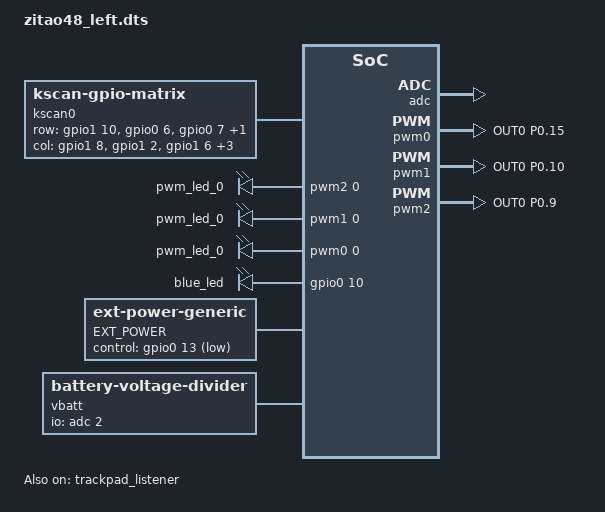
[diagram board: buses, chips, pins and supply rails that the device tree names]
/*
*
* Copyright (c) 2025 ZitaoTech
* SPDX-License-Identifier: MIT
*
*/

#include "zitao48.dtsi"
//#include "zitao48_left-pinctrl.dtsi"
/* {
    glidepoint_listener: glidepoint_listener {
        compatible = "zmk,input-listener";
        status = "disabled";
    };
};*/


/{
    chosen {
        zmk,studio-rpc-uart = &cdc_acm_uart; // ✅ 
    };
};

/ {
    chosen {
        zmk,keyboard_middlebacklight = &keyboard_middlebacklight;
        zmk,indicator_tp = &indicator_tp;
        zmk,backlight = &backlight;
    };
    kscan0: kscan {
        compatible = "zmk,kscan-gpio-matrix";
        diode-direction = "col2row";
        row-gpios
            = <&gpio1 10 (GPIO_ACTIVE_HIGH | GPIO_PULL_DOWN)>
            , <&gpio0 6  (GPIO_ACTIVE_HIGH | GPIO_PULL_DOWN)>
            , <&gpio0 7 (GPIO_ACTIVE_HIGH | GPIO_PULL_DOWN)>
            , <&gpio1 13  (GPIO_ACTIVE_HIGH | GPIO_PULL_DOWN)>
            ;
        col-gpios
            = <&gpio1 8  GPIO_ACTIVE_HIGH>
            , <&gpio1 2  GPIO_ACTIVE_HIGH>
            , <&gpio1 6  GPIO_ACTIVE_HIGH>
            , <&gpio0 11 GPIO_ACTIVE_HIGH>
            , <&gpio1 11 GPIO_ACTIVE_HIGH>
            , <&gpio0 29 GPIO_ACTIVE_HIGH>
            ;
    };

    keyboard_middlebacklight: pwmledfo{
        compatible = "pwm-leds";
        pwm_led_0 {
            pwms = <&pwm2 0 PWM_USEC(20) PWM_POLARITY_NORMAL>;
        };
    };

    indicator_tp: pwmledo{
        compatible = "pwm-leds";
        pwm_led_0 {
            pwms = <&pwm1 0 PWM_USEC(20) PWM_POLARITY_NORMAL>;
        };
    };

    backlight: pwmleds {
        compatible = "pwm-leds";
        pwm_led_0 {
            pwms = <&pwm0 0 PWM_MSEC(10) PWM_POLARITY_NORMAL>;
        };
    };
    

    leds {
        compatible = "gpio-leds";
        blue_led: led_0 {
            gpios = <&gpio0 10 GPIO_ACTIVE_HIGH>;
        };
    };
        EXT_POWER {
        compatible = "zmk,ext-power-generic";
        control-gpios = <&gpio0 13 GPIO_ACTIVE_LOW>;
    };

    vbatt: vbatt {
        compatible = "zmk,battery-voltage-divider";
        io-channels = <&adc 2>;
        output-ohms = <2000000>;
        full-ohms = <2820000>;  // 2000000 + 820000
    };
};


&adc {
    status = "okay";
};

&gpiote {
    status = "okay";
};

&gpio0 {
    status = "okay";
};

&gpio1 {
    status = "okay";
};

&pwm0 {
    status = "okay";
    pinctrl-0 = <&pwm0_default>;
    pinctrl-1 = <&pwm0_sleep>;
    pinctrl-names = "default", "sleep";
};

&pwm1 {
    status = "okay";
    pinctrl-0 = <&pwm1_default>;
    pinctrl-1 = <&pwm1_sleep>;
    pinctrl-names = "default", "sleep";
};

&pwm2 {
    status = "okay";
    pinctrl-0 = <&pwm2_default>;
    pinctrl-1 = <&pwm2_sleep>;
    pinctrl-names = "default", "sleep";
};




&trackpad_listener {
    status = "okay";
};

/*
 * Copyright (c) 2025 ZitaoTech
 * SPDX-License-Identifier: MIT
 */

&pinctrl {
    i2c0_default: i2c0_default {
        group1 {
            psels = <NRF_PSEL(TWIM_SDA, 0, 22)>,
                <NRF_PSEL(TWIM_SCL, 1, 00)>;
        };
    };

    i2c0_sleep: i2c0_sleep {
        group1 {
            psels = <NRF_PSEL(TWIM_SDA, 0, 22)>,
                <NRF_PSEL(TWIM_SCL, 1, 00)>;
            low-power-enable;
        };
    };


    pwm0_default:pwm0_default{
        group1{
            psels = <NRF_PSEL(PWM_OUT0, 0, 15)>; // Backlight for backlight.c unreal
        };
    };

    pwm0_sleep: pwm0_sleep {
        group1 {
            psels = <NRF_PSEL(PWM_OUT0, 0, 15)>;
            bias-pull-down;
        };
    };

    pwm1_default:pwm1_default{
        group1{
            psels = <NRF_PSEL(PWM_OUT0, 0, 10)>; // Backlight for Trackpad
        };
    };

    pwm1_sleep: pwm1_sleep {
        group1 {
            psels = <NRF_PSEL(PWM_OUT0, 0, 10)>;
            bias-pull-down;
        };
    };

    pwm2_default: pwm2_default {
        group1 {
            psels = <NRF_PSEL(PWM_OUT0, 0, 9)>; // Backlight for Middle Layerindicator
        };
    };

    pwm2_sleep: pwm2_sleep {
        group1 {
            psels = <NRF_PSEL(PWM_OUT0, 0, 8)>;
            bias-pull-down;
        };
    };

    spi0_default: spi0_default {
        group1 {
            psels = <NRF_PSEL(SPIM_MOSI, 0, 17)>,
            <NRF_PSEL(SPIM_SCK, 0, 20)>;
        };
    };
    spi0_sleep: spi0_sleep {
        group1 {
            psels = <NRF_PSEL(SPIM_MOSI, 0, 17)>,
            <NRF_PSEL(SPIM_SCK, 0, 20)>;
            low-power-enable;
        };
    };
    
};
